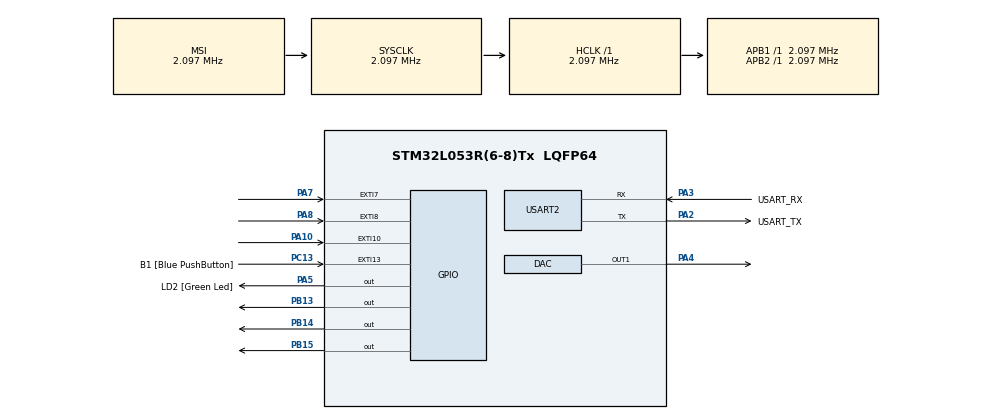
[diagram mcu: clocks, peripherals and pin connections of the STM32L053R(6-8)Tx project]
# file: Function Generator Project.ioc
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DAC.DAC_Trigger=DAC_TRIGGER_NONE
Mcu.Family=STM32L0
Mcu.Name=STM32L053R(6-8)Tx
Mcu.Package=LQFP64
NVIC.EXTI4_15_IRQn=true\:0\:0\:true\:false\:true\:true\:true
NVIC.TIM2_IRQn=true\:0\:0\:false\:false\:true\:true\:true
NVIC.USART2_IRQn=true\:2\:0\:true\:false\:true\:true\:true
PA10.Signal=GPXTI10
PA13.GPIO_Label=TMS
PA13.Signal=SYS_SWDIO
PA14.GPIO_Label=TCK
PA14.Signal=SYS_SWCLK
PA2.GPIO_Label=USART_TX
PA2.Mode=Asynchronous
PA2.Signal=USART2_TX
PA3.GPIO_Label=USART_RX
PA3.Mode=Asynchronous
PA3.Signal=USART2_RX
PA4.Signal=COMP_DAC1_group
PA5.GPIO_Label=LD2 [Green Led]
PA5.Signal=GPIO_Output
PA7.Signal=GPXTI7
PA8.Signal=GPXTI8
PB13.Signal=GPIO_Output
PB14.Signal=GPIO_Output
PB15.Signal=GPIO_Output
PC13.GPIO_Label=B1 [Blue PushButton]
PC13.GPIO_ModeDefaultEXTI=GPIO_MODE_IT_FALLING
PC13.Signal=GPXTI13
PC14-OSC32_IN.Signal=RCC_OSC32_IN
PC15-OSC32_OUT.Signal=RCC_OSC32_OUT
PH0-OSC_IN.Signal=RCC_OSC_IN
PH1-OSC_OUT.Signal=RCC_OSC_OUT
ProjectManager.HeapSize=0x200
ProjectManager.StackSize=0x400
ProjectManager.TargetToolchain=STM32CubeIDE
RCC.AHBFreq_Value=2097000
RCC.APB1Freq_Value=2097000
RCC.APB1TimFreq_Value=2097000
RCC.APB2Freq_Value=2097000
RCC.APB2TimFreq_Value=2097000
RCC.HSE_VALUE=8000000
RCC.HSI16_VALUE=16000000
RCC.HSI48_VALUE=48000000
RCC.HSI_VALUE=16000000
RCC.LSEState=RCC_LSE_ON
RCC.LSE_VALUE=32768
RCC.MSI_VALUE=2097000
RCC.SYSCLKFreq_VALUE=2097000
RCC.VCOOutputFreq_Value=48000000
SH.COMP_DAC1_group.0=DAC_OUT1,DAC_OUT1
TIM2.Period=1
TIM2.Prescaler=2097
USART2.VirtualMode-Asynchronous=VM_ASYNC
VP_TIM2_VS_ClockSourceINT.Mode=Internal
board=NUCLEO-L053R8

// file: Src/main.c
/* USER CODE BEGIN Header */
/**
  ******************************************************************************
  * @file           : main.c
  * @brief          : Main program body
  ******************************************************************************
  * @attention
  *
  * <h2><center>&copy; Copyright (c) 2020 STMicroelectronics.
  * All rights reserved.</center></h2>
  *
  * This software component is licensed by ST under BSD 3-Clause license,
  * the "License"; You may not use this file except in compliance with the
  * License. You may obtain a copy of the License at:
  *                        opensource.org/licenses/BSD-3-Clause
  *
  ******************************************************************************
  */
/* USER CODE END Header */

#include "main.h"

/* USER CODE BEGIN Includes */
#include <stdio.h>
#include "math.h"
/* USER CODE END Includes */

DAC_HandleTypeDef hdac;

TIM_HandleTypeDef htim2;

UART_HandleTypeDef huart2;

/* USER CODE BEGIN PV */
uint16_t timeCounter; // Time in milliseconds.
int waveNumber; // sine (0), triangle (1), square (2) waves.
int frequencyOfWave = 1; // Unit in Hz.
int powerOn; // Whether output should be given or not.
int waveButtonPressed; // To debounce wave changing button.
int frequencyButtonPressed; // To debounce frequency changing button.
int powerButtonPressed; // To debounce power button.
double samplingRate = 1000; // The ratio we have to divide by time to get exact time in seconds.
/* USER CODE END PV */

void SystemClock_Config(void);
static void MX_GPIO_Init(void);
static void MX_DAC_Init(void);
static void MX_TIM2_Init(void);
static void MX_USART2_UART_Init(void);
/* USER CODE BEGIN PFP */
static double triangle(double t, double frequency);
static double square(double t, double frequency);
/* USER CODE END PFP */

int main(void)
{

  /* MCU Configuration--------------------------------------------------------*/

  /* Reset of all peripherals, Initializes the Flash interface and the Systick. */
  HAL_Init();

  /* Configure the system clock */
  SystemClock_Config();

  /* Initialize all configured peripherals */
  MX_GPIO_Init();
  MX_DAC_Init();
  MX_TIM2_Init();
  MX_USART2_UART_Init();
  /* USER CODE BEGIN 2 */
  timeCounter = 0;
  double amplitude; // Amplitude of wave at the current moment.
  HAL_TIM_Base_Start_IT(&htim2);
  HAL_DAC_Start(&hdac, DAC_CHANNEL_1); // Will use to send analog waves.
  __HAL_UART_ENABLE_IT(&huart2, UART_IT_TC); // Send debug data over UART.
  /* USER CODE END 2 */

  /* Infinite loop */
  /* USER CODE BEGIN WHILE */
  while (1)
  {
	  if(waveButtonPressed){
		  HAL_Delay(200); // Debounce button.
		  waveButtonPressed = 0;
		  timeCounter = 0; // Set the time to start.
	  }
	  if(frequencyButtonPressed){
		  HAL_Delay(200); // Debounce button.
		  frequencyButtonPressed = 0;
		  timeCounter = 0; // Set the time to start.
	  }
	  if(powerButtonPressed){
		  HAL_Delay(200); // Debounce button.
		  powerButtonPressed = 0;
		  timeCounter = 0; // Set the time to start.
	  }
	  if(powerOn){ // If power on then you should give corresponding voltage at current time from dac channel 1.
		  if((double)timeCounter / samplingRate >= 1/(double)frequencyOfWave){
			  timeCounter = 0; // If current time greater then or equal to period of wave then time should reset.
		  }
		  switch(waveNumber){ // Handle type of wave to calculate current amplitude (voltage value) of wave.
		  	  case 0:
		  		  // sine wave with dc gain.
		  		  amplitude = 1.65 * sin(2*M_PI*frequencyOfWave*timeCounter / samplingRate) + 1.65;
		  		  break;
		  	  case 1:
		  		  // triangle wave
		  		  amplitude = 3.3 * triangle(2*M_PI*frequencyOfWave*timeCounter / samplingRate, frequencyOfWave);
		  		  break;
		  	  case 2:
		  		  // square wave
		  		  amplitude = 3.3 * square(2*M_PI*frequencyOfWave*timeCounter / samplingRate, frequencyOfWave);
		  		  break;
		  }
		  // Create debug string to send over UART.
		  char info[38];
		  sprintf(info, "At t = %5d, V = %2.2lf, f = %6d\n\r", timeCounter, amplitude, frequencyOfWave); // Please include printf_float formatting in project properties.
		  HAL_UART_Transmit_IT(&huart2, (uint8_t *) info, 38); // Baudrate 115200 bit/s.
		  // Set dac to output here.
		  HAL_DAC_Stop(&hdac, DAC_CHANNEL_1);
		  HAL_DAC_Start(&hdac, DAC_CHANNEL_1);
		  HAL_DAC_SetValue(&hdac, DAC_CHANNEL_1, DAC_ALIGN_12B_R, (uint32_t)(amplitude / 3.3 * 4095)); // Scale the amplitude.
	  }
	  else{
		  HAL_DAC_Stop(&hdac, DAC_CHANNEL_1);
		  HAL_DAC_Start(&hdac, DAC_CHANNEL_1);
		  // If power is off then output must be off.
		  HAL_DAC_SetValue(&hdac, DAC_CHANNEL_1, DAC_ALIGN_12B_R, 0);
	  }
    /* USER CODE END WHILE */

  }
}

void SystemClock_Config(void)
{
  RCC_OscInitTypeDef RCC_OscInitStruct = {0};
  RCC_ClkInitTypeDef RCC_ClkInitStruct = {0};
  RCC_PeriphCLKInitTypeDef PeriphClkInit = {0};

  /** Configure the main internal regulator output voltage
  */
  __HAL_PWR_VOLTAGESCALING_CONFIG(PWR_REGULATOR_VOLTAGE_SCALE1);
  /** Initializes the CPU, AHB and APB busses clocks
  */
  RCC_OscInitStruct.OscillatorType = RCC_OSCILLATORTYPE_MSI;
  RCC_OscInitStruct.MSIState = RCC_MSI_ON;
  RCC_OscInitStruct.MSICalibrationValue = 0;
  RCC_OscInitStruct.MSIClockRange = RCC_MSIRANGE_5;
  RCC_OscInitStruct.PLL.PLLState = RCC_PLL_NONE;
  if (HAL_RCC_OscConfig(&RCC_OscInitStruct) != HAL_OK)
  {
    Error_Handler();
  }
  /** Initializes the CPU, AHB and APB busses clocks
  */
  RCC_ClkInitStruct.ClockType = RCC_CLOCKTYPE_HCLK|RCC_CLOCKTYPE_SYSCLK
                              |RCC_CLOCKTYPE_PCLK1|RCC_CLOCKTYPE_PCLK2;
  RCC_ClkInitStruct.SYSCLKSource = RCC_SYSCLKSOURCE_MSI;
  RCC_ClkInitStruct.AHBCLKDivider = RCC_SYSCLK_DIV1;
  RCC_ClkInitStruct.APB1CLKDivider = RCC_HCLK_DIV1;
  RCC_ClkInitStruct.APB2CLKDivider = RCC_HCLK_DIV1;

  if (HAL_RCC_ClockConfig(&RCC_ClkInitStruct, FLASH_LATENCY_0) != HAL_OK)
  {
    Error_Handler();
  }
  PeriphClkInit.PeriphClockSelection = RCC_PERIPHCLK_USART2;
  PeriphClkInit.Usart2ClockSelection = RCC_USART2CLKSOURCE_PCLK1;
  if (HAL_RCCEx_PeriphCLKConfig(&PeriphClkInit) != HAL_OK)
  {
    Error_Handler();
  }
}

static void MX_DAC_Init(void)
{

  DAC_ChannelConfTypeDef sConfig = {0};

  /** DAC Initialization
  */
  hdac.Instance = DAC;
  if (HAL_DAC_Init(&hdac) != HAL_OK)
  {
    Error_Handler();
  }
  /** DAC channel OUT1 config
  */
  sConfig.DAC_Trigger = DAC_TRIGGER_NONE;
  sConfig.DAC_OutputBuffer = DAC_OUTPUTBUFFER_ENABLE;
  if (HAL_DAC_ConfigChannel(&hdac, &sConfig, DAC_CHANNEL_1) != HAL_OK)
  {
    Error_Handler();
  }

}

static void MX_TIM2_Init(void)
{

  TIM_ClockConfigTypeDef sClockSourceConfig = {0};
  TIM_MasterConfigTypeDef sMasterConfig = {0};

  htim2.Instance = TIM2;
  htim2.Init.Prescaler = 2097;
  htim2.Init.CounterMode = TIM_COUNTERMODE_UP;
  htim2.Init.Period = 1;
  htim2.Init.ClockDivision = TIM_CLOCKDIVISION_DIV1;
  htim2.Init.AutoReloadPreload = TIM_AUTORELOAD_PRELOAD_DISABLE;
  if (HAL_TIM_Base_Init(&htim2) != HAL_OK)
  {
    Error_Handler();
  }
  sClockSourceConfig.ClockSource = TIM_CLOCKSOURCE_INTERNAL;
  if (HAL_TIM_ConfigClockSource(&htim2, &sClockSourceConfig) != HAL_OK)
  {
    Error_Handler();
  }
  sMasterConfig.MasterOutputTrigger = TIM_TRGO_RESET;
  sMasterConfig.MasterSlaveMode = TIM_MASTERSLAVEMODE_DISABLE;
  if (HAL_TIMEx_MasterConfigSynchronization(&htim2, &sMasterConfig) != HAL_OK)
  {
    Error_Handler();
  }

}

static void MX_USART2_UART_Init(void)
{

  huart2.Instance = USART2;
  huart2.Init.BaudRate = 115200;
  huart2.Init.WordLength = UART_WORDLENGTH_8B;
  huart2.Init.StopBits = UART_STOPBITS_1;
  huart2.Init.Parity = UART_PARITY_NONE;
  huart2.Init.Mode = UART_MODE_TX_RX;
  huart2.Init.HwFlowCtl = UART_HWCONTROL_NONE;
  huart2.Init.OverSampling = UART_OVERSAMPLING_16;
  huart2.Init.OneBitSampling = UART_ONE_BIT_SAMPLE_DISABLE;
  huart2.AdvancedInit.AdvFeatureInit = UART_ADVFEATURE_NO_INIT;
  if (HAL_UART_Init(&huart2) != HAL_OK)
  {
    Error_Handler();
  }

}

static void MX_GPIO_Init(void)
{
  GPIO_InitTypeDef GPIO_InitStruct = {0};

  /* GPIO Ports Clock Enable */
  __HAL_RCC_GPIOC_CLK_ENABLE();
  __HAL_RCC_GPIOH_CLK_ENABLE();
  __HAL_RCC_GPIOA_CLK_ENABLE();
  __HAL_RCC_GPIOB_CLK_ENABLE();

  /*Configure GPIO pin Output Level */
  HAL_GPIO_WritePin(LD2_GPIO_Port, LD2_Pin, GPIO_PIN_RESET);

  /*Configure GPIO pin Output Level */
  HAL_GPIO_WritePin(GPIOB, GPIO_PIN_13|GPIO_PIN_14|GPIO_PIN_15, GPIO_PIN_RESET);

  /*Configure GPIO pin : B1_Pin */
  GPIO_InitStruct.Pin = B1_Pin;
  GPIO_InitStruct.Mode = GPIO_MODE_IT_FALLING;
  GPIO_InitStruct.Pull = GPIO_NOPULL;
  HAL_GPIO_Init(B1_GPIO_Port, &GPIO_InitStruct);

  /*Configure GPIO pin : LD2_Pin */
  GPIO_InitStruct.Pin = LD2_Pin;
  GPIO_InitStruct.Mode = GPIO_MODE_OUTPUT_PP;
  GPIO_InitStruct.Pull = GPIO_NOPULL;
  GPIO_InitStruct.Speed = GPIO_SPEED_FREQ_LOW;
  HAL_GPIO_Init(LD2_GPIO_Port, &GPIO_InitStruct);

  /*Configure GPIO pins : PA7 PA8 PA10 */
  GPIO_InitStruct.Pin = GPIO_PIN_7|GPIO_PIN_8|GPIO_PIN_10;
  GPIO_InitStruct.Mode = GPIO_MODE_IT_RISING;
  GPIO_InitStruct.Pull = GPIO_NOPULL;
  HAL_GPIO_Init(GPIOA, &GPIO_InitStruct);

  /*Configure GPIO pins : PB13 PB14 PB15 */
  GPIO_InitStruct.Pin = GPIO_PIN_13|GPIO_PIN_14|GPIO_PIN_15;
  GPIO_InitStruct.Mode = GPIO_MODE_OUTPUT_PP;
  GPIO_InitStruct.Pull = GPIO_NOPULL;
  GPIO_InitStruct.Speed = GPIO_SPEED_FREQ_LOW;
  HAL_GPIO_Init(GPIOB, &GPIO_InitStruct);

  /* EXTI interrupt init*/
  HAL_NVIC_SetPriority(EXTI4_15_IRQn, 0, 0);
  HAL_NVIC_EnableIRQ(EXTI4_15_IRQn);

}

/* USER CODE BEGIN 4 */
// Just a easy triangle wave function.
static double triangle(double t, double frequency)
{
	t /= (2 * M_PI * frequency); // Radians to seconds.
	double period = 1 / frequency;
	double res = (t < period / 2) ? 2*t/period : 2*(period - t) / period; // Use slope to find out voltage value.
	return res;
}

// Just a easy square wave function.
static double square(double t, double frequency){
	t /= (2 * M_PI * frequency); // Radians to seconds.
	double period = 1 / frequency;
	return (t < period / 2) ? 0 : 1; // Check if on half period or over.
}

void HAL_GPIO_EXTI_Callback(uint16_t GPIO_Pin)
{
	if(GPIO_Pin == GPIO_PIN_10){ // Button 1
		if(!waveButtonPressed && powerOn){ // If power is on and wave button was pressed for first time then handle it.
				waveButtonPressed = 1; // Button was clicked so lock it.
				switch(waveNumber){ // Handle weave type.
					case 0:
						HAL_GPIO_TogglePin(GPIOB, GPIO_PIN_15); // Set green led off.
						HAL_GPIO_TogglePin(GPIOB, GPIO_PIN_14); // Set yellow led on.
						waveNumber++;
						break;
					case 1:
						HAL_GPIO_TogglePin(GPIOB, GPIO_PIN_14); // Set yellow led off.
						HAL_GPIO_TogglePin(GPIOB, GPIO_PIN_13); // Set red led on.
						waveNumber++;
						break;
					case 2:
						HAL_GPIO_TogglePin(GPIOB, GPIO_PIN_13); // Set red led off.
						HAL_GPIO_TogglePin(GPIOB, GPIO_PIN_15); // Set green led on.
						waveNumber = 0;
						break;
				}
		}
	}
	if(GPIO_Pin == GPIO_PIN_7){ // Button 2
		if(!frequencyButtonPressed && powerOn){ // If power is on and frequency button was pressed for first time then handle it.
			frequencyButtonPressed = 1; // Button was clicked so lock it.
			frequencyOfWave = (frequencyOfWave == 10) ? 1 : frequencyOfWave+1; // Increment frequency by one every button click unless it is 10 then reset to 1.
		}
	}
	if(GPIO_Pin == GPIO_PIN_8){ // Button 3
		if(!powerButtonPressed){ // If power button was pressed for first time then handle it.
			powerButtonPressed = 1; // Button was clicked so lock it.
			powerOn = !powerOn; // Toggle the button logic.
			switch(waveNumber){ // Find out which led is set then set it off.
				case 0:
					HAL_GPIO_TogglePin(GPIOB, GPIO_PIN_15);
					break;
				case 1:
					HAL_GPIO_TogglePin(GPIOB, GPIO_PIN_14);
					break;
				case 2:
					HAL_GPIO_TogglePin(GPIOB, GPIO_PIN_13);
					break;
			}
		}
	}
	__HAL_GPIO_EXTI_CLEAR_IT(GPIO_Pin);
}
/* USER CODE END 4 */

void Error_Handler(void)
{
}

/************************ (C) COPYRIGHT STMicroelectronics *****END OF FILE****/
